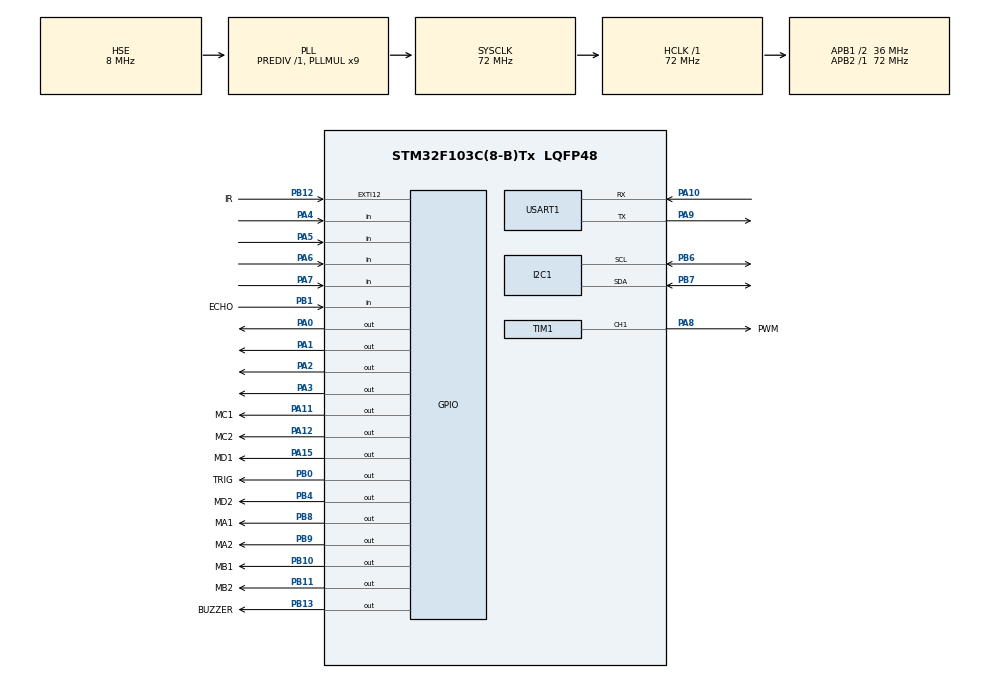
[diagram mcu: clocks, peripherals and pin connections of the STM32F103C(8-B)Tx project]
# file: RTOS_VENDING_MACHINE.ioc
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FREERTOS.Tasks01=defaultTask,0,128,StartDefaultTask,Default,NULL,Dynamic,NULL,NULL
FREERTOS.configUSE_NEWLIB_REENTRANT=1
Mcu.Family=STM32F1
Mcu.Name=STM32F103C(8-B)Tx
Mcu.Package=LQFP48
NVIC.EXTI15_10_IRQn=true\:5\:0\:true\:false\:true\:false\:true\:true\:true
NVIC.PriorityGroup=NVIC_PRIORITYGROUP_4
NVIC.TIM4_IRQn=true\:15\:0\:false\:false\:true\:false\:false\:true\:true
NVIC.TimeBase=TIM4_IRQn
NVIC.TimeBaseIP=TIM4
NVIC.USART1_IRQn=true\:5\:0\:false\:false\:true\:true\:true\:true\:true
PA0-WKUP.Signal=GPIO_Output
PA1.Signal=GPIO_Output
PA10.Mode=Asynchronous
PA10.Signal=USART1_RX
PA11.GPIO_Label=MC1
PA11.Signal=GPIO_Output
PA12.GPIO_Label=MC2
PA12.Signal=GPIO_Output
PA13.Mode=Serial_Wire
PA13.Signal=SYS_JTMS-SWDIO
PA14.Mode=Serial_Wire
PA14.Signal=SYS_JTCK-SWCLK
PA15.GPIO_Label=MD1
PA15.Signal=GPIO_Output
PA2.Signal=GPIO_Output
PA3.Signal=GPIO_Output
PA4.GPIO_PuPd=GPIO_PULLUP
PA4.Signal=GPIO_Input
PA5.GPIO_PuPd=GPIO_PULLUP
PA5.Signal=GPIO_Input
PA6.GPIO_PuPd=GPIO_PULLUP
PA6.Signal=GPIO_Input
PA7.GPIO_PuPd=GPIO_PULLUP
PA7.Signal=GPIO_Input
PA8.GPIO_Label=PWM
PA8.Signal=S_TIM1_CH1
PA9.Mode=Asynchronous
PA9.Signal=USART1_TX
PB0.GPIO_Label=TRIG
PB0.Signal=GPIO_Output
PB1.GPIO_Label=ECHO
PB1.Signal=GPIO_Input
PB10.GPIO_Label=MB1
PB10.Signal=GPIO_Output
PB11.GPIO_Label=MB2
PB11.Signal=GPIO_Output
PB12.GPIO_Label=IR
PB12.Signal=GPXTI12
PB13.GPIO_Label=BUZZER
PB13.Signal=GPIO_Output
PB4.GPIO_Label=MD2
PB4.Signal=GPIO_Output
PB6.Mode=I2C
PB6.Signal=I2C1_SCL
PB7.Mode=I2C
PB7.Signal=I2C1_SDA
PB8.GPIO_Label=MA1
PB8.Signal=GPIO_Output
PB9.GPIO_Label=MA2
PB9.Signal=GPIO_Output
PD0-OSC_IN.Mode=HSE-External-Oscillator
PD0-OSC_IN.Signal=RCC_OSC_IN
PD1-OSC_OUT.Mode=HSE-External-Oscillator
PD1-OSC_OUT.Signal=RCC_OSC_OUT
ProjectManager.HeapSize=0x200
ProjectManager.StackSize=0x400
ProjectManager.TargetToolchain=STM32CubeIDE
RCC.AHBFreq_Value=72000000
RCC.APB1CLKDivider=RCC_HCLK_DIV2
RCC.APB1Freq_Value=36000000
RCC.APB1TimFreq_Value=72000000
RCC.APB2Freq_Value=72000000
RCC.APB2TimFreq_Value=72000000
RCC.HCLKFreq_Value=72000000
RCC.PLLMUL=RCC_PLL_MUL9
RCC.PLLSourceVirtual=RCC_PLLSOURCE_HSE
RCC.SYSCLKFreq_VALUE=72000000
RCC.SYSCLKSource=RCC_SYSCLKSOURCE_PLLCLK
RCC.USBFreq_Value=72000000
SH.S_TIM1_CH1.0=TIM1_CH1,PWM Generation1 CH1
TIM1.Channel-PWM\ Generation1\ CH1=TIM_CHANNEL_1
TIM1.Period=1000
TIM1.Prescaler=71
USART1.VirtualMode=VM_ASYNC
VP_FREERTOS_VS_CMSIS_V1.Mode=CMSIS_V1
VP_SYS_VS_tim4.Mode=TIM4
board=custom

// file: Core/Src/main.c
/* USER CODE BEGIN Header */
/**
  ******************************************************************************
  * @file           : main.c
  * @brief          : Main program body
  ******************************************************************************
  */
/* USER CODE END Header */
#include "main.h"
#include "cmsis_os.h"

/* USER CODE BEGIN Includes */
#include <stdio.h>
#include <string.h>
/* USER CODE END Includes */

/* USER CODE BEGIN PD */
#define LCD_ADDR (0x27 << 1) // Default I2C LCD address shifted left
/* USER CODE END PD */

I2C_HandleTypeDef hi2c1;
TIM_HandleTypeDef htim1;
UART_HandleTypeDef huart1;

osThreadId defaultTaskHandle;

/* USER CODE BEGIN PV */
// Task Handles
osThreadId keypadTaskHandle;
osThreadId coinTaskHandle;
osThreadId controlTaskHandle;
osThreadId motorTaskHandle;
osThreadId ultrasonicTaskHandle;
osThreadId displayTaskHandle;
osThreadId buzzerTaskHandle;

// Queue Handles
osMessageQId coinQueueHandle;
osMessageQId keypadQueueHandle;

// Global State Variable
typedef enum {
  IDLE,
  COIN_INSERTED,
  SELECT_ITEM,
  SELECT_QUANTITY,
  CHECK_BALANCE,
  DISPENSE,
  VERIFY_DROP,
  SYS_SUCCESS,
  SYS_ERROR
} VendingState_t;

VendingState_t currentState = IDLE;

// System Data
volatile uint16_t currentBalance = 0;
volatile char selectedItem = '\0';
volatile uint8_t dropVerified = 0;

// Per-item configuration (1 unit = 10 Rs coin)
const uint16_t defaultItemCost[4] = {1, 1, 1, 1};
volatile uint16_t itemCost[4] = {1, 1, 1, 1};
volatile uint8_t itemStock[4] = {5, 5, 5, 5};
volatile uint32_t totalRevenue = 0;

// Restock mode variables
volatile uint8_t restockMode = 0;
volatile uint8_t restockStep = 0;          // 99=password, 0=select item, 1=enter qty, 2=enter price
volatile char restockItem = 0;
volatile uint8_t tempQty = 0;
volatile uint16_t tempPrice = 0;
volatile uint8_t tempDigitIndex = 0;
volatile uint16_t tempInputValue = 0;
volatile char pwdBuffer[5] = {0};          // Store 4-digit password

// Multi‑quantity purchase
volatile uint8_t requestedQty = 0;

// Display toggle for stock/price menu
volatile uint8_t displayMenuState = 0;     // 0 = prompt, 1 = stock, 2 = price
/* USER CODE END PV */

void SystemClock_Config(void);
static void MX_GPIO_Init(void);
static void MX_I2C1_Init(void);
static void MX_TIM1_Init(void);
static void MX_USART1_UART_Init(void);
void StartDefaultTask(void const * argument);

/* USER CODE BEGIN PFP */
void StartKeypadTask(void const * argument);
void StartCoinTask(void const * argument);
void StartControlTask(void const * argument);
void StartMotorTask(void const * argument);
void StartUltrasonicTask(void const * argument);
void StartDisplayTask(void const * argument);
void StartBuzzerTask(void const * argument);

// Helper Prototypes
void Debug_Print(char *msg);
void LCD_SendCommand(uint8_t cmd);
void LCD_SendData(uint8_t data);
void LCD_String(char *str);
void LCD_Clear(void);
void LCD_SetCursor(int row, int col);
void LCD_Init(void);
/* USER CODE END PFP */

int main(void)
{
  /* MCU Configuration--------------------------------------------------------*/

  /* Reset of all peripherals, Initializes the Flash interface and the Systick. */
  HAL_Init();

  /* Configure the system clock */
  SystemClock_Config();

  /* Initialize all configured peripherals */
  MX_GPIO_Init();
  MX_I2C1_Init();
  MX_TIM1_Init();
  MX_USART1_UART_Init();

  /* USER CODE BEGIN 2 */
  // Initial Debug Output
  Debug_Print("\r\n=================================\r\n");
  Debug_Print("  RTOS VENDING MACHINE BOOTING   \r\n");
  Debug_Print("=================================\r\n");

  // --- BARE METAL LCD INITIALIZATION ---
  LCD_Init();

  LCD_SetCursor(0, 0);
  LCD_String("  RTOS VENDING  ");
  LCD_SetCursor(1, 0);
  LCD_String(" SYSTEM BOOTING ");

  HAL_Delay(2000);
  LCD_Clear();
  /* USER CODE END 2 */

  /* USER CODE BEGIN RTOS_QUEUES */
  osMessageQDef(coinQueue, 16, uint8_t);
  coinQueueHandle = osMessageCreate(osMessageQ(coinQueue), NULL);

  osMessageQDef(keypadQueue, 16, uint8_t);
  keypadQueueHandle = osMessageCreate(osMessageQ(keypadQueue), NULL);
  /* USER CODE END RTOS_QUEUES */

  /* Create the thread(s) */
  osThreadDef(defaultTask, StartDefaultTask, osPriorityNormal, 0, 128);
  defaultTaskHandle = osThreadCreate(osThread(defaultTask), NULL);

  /* USER CODE BEGIN RTOS_THREADS */
  osThreadDef(controlTask, StartControlTask, osPriorityAboveNormal, 0, 512);
  controlTaskHandle = osThreadCreate(osThread(controlTask), NULL);

  osThreadDef(keypadTask, StartKeypadTask, osPriorityNormal, 0, 256);
  keypadTaskHandle = osThreadCreate(osThread(keypadTask), NULL);

  osThreadDef(coinTask, StartCoinTask, osPriorityNormal, 0, 128);
  coinTaskHandle = osThreadCreate(osThread(coinTask), NULL);

  osThreadDef(motorTask, StartMotorTask, osPriorityNormal, 0, 128);
  motorTaskHandle = osThreadCreate(osThread(motorTask), NULL);

  osThreadDef(displayTask, StartDisplayTask, osPriorityNormal, 0, 256);
  displayTaskHandle = osThreadCreate(osThread(displayTask), NULL);

  osThreadDef(buzzerTask, StartBuzzerTask, osPriorityNormal, 0, 128);
  buzzerTaskHandle = osThreadCreate(osThread(buzzerTask), NULL);

  osThreadDef(ultrasonicTask, StartUltrasonicTask, osPriorityNormal, 0, 256);
  ultrasonicTaskHandle = osThreadCreate(osThread(ultrasonicTask), NULL);
  /* USER CODE END RTOS_THREADS */

  /* Start scheduler */
  osKernelStart();

  while (1)
  {
  }
}

void SystemClock_Config(void)
{
  RCC_OscInitTypeDef RCC_OscInitStruct = {0};
  RCC_ClkInitTypeDef RCC_ClkInitStruct = {0};

  RCC_OscInitStruct.OscillatorType = RCC_OSCILLATORTYPE_HSE;
  RCC_OscInitStruct.HSEState = RCC_HSE_ON;
  RCC_OscInitStruct.HSEPredivValue = RCC_HSE_PREDIV_DIV1;
  RCC_OscInitStruct.HSIState = RCC_HSI_ON;
  RCC_OscInitStruct.PLL.PLLState = RCC_PLL_ON;
  RCC_OscInitStruct.PLL.PLLSource = RCC_PLLSOURCE_HSE;
  RCC_OscInitStruct.PLL.PLLMUL = RCC_PLL_MUL9;
  if (HAL_RCC_OscConfig(&RCC_OscInitStruct) != HAL_OK)
  {
    Error_Handler();
  }

  RCC_ClkInitStruct.ClockType = RCC_CLOCKTYPE_HCLK|RCC_CLOCKTYPE_SYSCLK
                              |RCC_CLOCKTYPE_PCLK1|RCC_CLOCKTYPE_PCLK2;
  RCC_ClkInitStruct.SYSCLKSource = RCC_SYSCLKSOURCE_PLLCLK;
  RCC_ClkInitStruct.AHBCLKDivider = RCC_SYSCLK_DIV1;
  RCC_ClkInitStruct.APB1CLKDivider = RCC_HCLK_DIV2;
  RCC_ClkInitStruct.APB2CLKDivider = RCC_HCLK_DIV1;

  if (HAL_RCC_ClockConfig(&RCC_ClkInitStruct, FLASH_LATENCY_2) != HAL_OK)
  {
    Error_Handler();
  }
}

static void MX_I2C1_Init(void)
{
  hi2c1.Instance = I2C1;
  hi2c1.Init.ClockSpeed = 100000;
  hi2c1.Init.DutyCycle = I2C_DUTYCYCLE_2;
  hi2c1.Init.OwnAddress1 = 0;
  hi2c1.Init.AddressingMode = I2C_ADDRESSINGMODE_7BIT;
  hi2c1.Init.DualAddressMode = I2C_DUALADDRESS_DISABLE;
  hi2c1.Init.OwnAddress2 = 0;
  hi2c1.Init.GeneralCallMode = I2C_GENERALCALL_DISABLE;
  hi2c1.Init.NoStretchMode = I2C_NOSTRETCH_DISABLE;
  if (HAL_I2C_Init(&hi2c1) != HAL_OK)
  {
    Error_Handler();
  }
}

static void MX_TIM1_Init(void)
{
  TIM_MasterConfigTypeDef sMasterConfig = {0};
  TIM_OC_InitTypeDef sConfigOC = {0};
  TIM_BreakDeadTimeConfigTypeDef sBreakDeadTimeConfig = {0};

  htim1.Instance = TIM1;
  htim1.Init.Prescaler = 71;
  htim1.Init.CounterMode = TIM_COUNTERMODE_UP;
  htim1.Init.Period = 1000;
  htim1.Init.ClockDivision = TIM_CLOCKDIVISION_DIV1;
  htim1.Init.RepetitionCounter = 0;
  htim1.Init.AutoReloadPreload = TIM_AUTORELOAD_PRELOAD_DISABLE;
  if (HAL_TIM_PWM_Init(&htim1) != HAL_OK)
  {
    Error_Handler();
  }
  sMasterConfig.MasterOutputTrigger = TIM_TRGO_RESET;
  sMasterConfig.MasterSlaveMode = TIM_MASTERSLAVEMODE_DISABLE;
  if (HAL_TIMEx_MasterConfigSynchronization(&htim1, &sMasterConfig) != HAL_OK)
  {
    Error_Handler();
  }
  sConfigOC.OCMode = TIM_OCMODE_PWM1;
  sConfigOC.Pulse = 0;
  sConfigOC.OCPolarity = TIM_OCPOLARITY_HIGH;
  sConfigOC.OCNPolarity = TIM_OCNPOLARITY_HIGH;
  sConfigOC.OCFastMode = TIM_OCFAST_DISABLE;
  sConfigOC.OCIdleState = TIM_OCIDLESTATE_RESET;
  sConfigOC.OCNIdleState = TIM_OCNIDLESTATE_RESET;
  if (HAL_TIM_PWM_ConfigChannel(&htim1, &sConfigOC, TIM_CHANNEL_1) != HAL_OK)
  {
    Error_Handler();
  }
  sBreakDeadTimeConfig.OffStateRunMode = TIM_OSSR_DISABLE;
  sBreakDeadTimeConfig.OffStateIDLEMode = TIM_OSSI_DISABLE;
  sBreakDeadTimeConfig.LockLevel = TIM_LOCKLEVEL_OFF;
  sBreakDeadTimeConfig.DeadTime = 0;
  sBreakDeadTimeConfig.BreakState = TIM_BREAK_DISABLE;
  sBreakDeadTimeConfig.BreakPolarity = TIM_BREAKPOLARITY_HIGH;
  sBreakDeadTimeConfig.AutomaticOutput = TIM_AUTOMATICOUTPUT_DISABLE;
  if (HAL_TIMEx_ConfigBreakDeadTime(&htim1, &sBreakDeadTimeConfig) != HAL_OK)
  {
    Error_Handler();
  }
  HAL_TIM_MspPostInit(&htim1);
}

static void MX_USART1_UART_Init(void)
{
  huart1.Instance = USART1;
  huart1.Init.BaudRate = 115200;
  huart1.Init.WordLength = UART_WORDLENGTH_8B;
  huart1.Init.StopBits = UART_STOPBITS_1;
  huart1.Init.Parity = UART_PARITY_NONE;
  huart1.Init.Mode = UART_MODE_TX_RX;
  huart1.Init.HwFlowCtl = UART_HWCONTROL_NONE;
  huart1.Init.OverSampling = UART_OVERSAMPLING_16;
  if (HAL_UART_Init(&huart1) != HAL_OK)
  {
    Error_Handler();
  }
}

static void MX_GPIO_Init(void)
{
  GPIO_InitTypeDef GPIO_InitStruct = {0};

  /* GPIO Ports Clock Enable */
  __HAL_RCC_GPIOD_CLK_ENABLE();
  __HAL_RCC_GPIOA_CLK_ENABLE();
  __HAL_RCC_GPIOB_CLK_ENABLE();

  /*Configure GPIO pin Output Level */
  HAL_GPIO_WritePin(GPIOA, GPIO_PIN_0|GPIO_PIN_1|GPIO_PIN_2|GPIO_PIN_3
                          |MC1_Pin|MC2_Pin|MD1_Pin, GPIO_PIN_RESET);

  /*Configure GPIO pin Output Level */
  HAL_GPIO_WritePin(GPIOB, TRIG_Pin|MB1_Pin|MB2_Pin|BUZZER_Pin
                          |MD2_Pin|MA1_Pin|MA2_Pin, GPIO_PIN_RESET);

  /*Configure GPIO pins : PA0 PA1 PA2 PA3 MC1_Pin MC2_Pin MD1_Pin */
  GPIO_InitStruct.Pin = GPIO_PIN_0|GPIO_PIN_1|GPIO_PIN_2|GPIO_PIN_3
                          |MC1_Pin|MC2_Pin|MD1_Pin;
  GPIO_InitStruct.Mode = GPIO_MODE_OUTPUT_PP;
  GPIO_InitStruct.Pull = GPIO_NOPULL;
  GPIO_InitStruct.Speed = GPIO_SPEED_FREQ_LOW;
  HAL_GPIO_Init(GPIOA, &GPIO_InitStruct);

  /*Configure GPIO pins : PA4 PA5 PA6 PA7 */
  GPIO_InitStruct.Pin = GPIO_PIN_4|GPIO_PIN_5|GPIO_PIN_6|GPIO_PIN_7;
  GPIO_InitStruct.Mode = GPIO_MODE_INPUT;
  GPIO_InitStruct.Pull = GPIO_PULLUP;
  HAL_GPIO_Init(GPIOA, &GPIO_InitStruct);

  /*Configure GPIO pins : TRIG_Pin MB1_Pin MB2_Pin BUZZER_Pin MD2_Pin MA1_Pin MA2_Pin */
  GPIO_InitStruct.Pin = TRIG_Pin|MB1_Pin|MB2_Pin|BUZZER_Pin
                          |MD2_Pin|MA1_Pin|MA2_Pin;
  GPIO_InitStruct.Mode = GPIO_MODE_OUTPUT_PP;
  GPIO_InitStruct.Pull = GPIO_NOPULL;
  GPIO_InitStruct.Speed = GPIO_SPEED_FREQ_LOW;
  HAL_GPIO_Init(GPIOB, &GPIO_InitStruct);

  /*Configure GPIO pin : ECHO_Pin */
  GPIO_InitStruct.Pin = ECHO_Pin;
  GPIO_InitStruct.Mode = GPIO_MODE_INPUT;
  GPIO_InitStruct.Pull = GPIO_NOPULL;
  HAL_GPIO_Init(ECHO_GPIO_Port, &GPIO_InitStruct);

  /*Configure GPIO pin : IR_Pin */
  GPIO_InitStruct.Pin = IR_Pin;
  GPIO_InitStruct.Mode = GPIO_MODE_IT_RISING;
  GPIO_InitStruct.Pull = GPIO_NOPULL;
  HAL_GPIO_Init(IR_GPIO_Port, &GPIO_InitStruct);

  /* EXTI interrupt init*/
  HAL_NVIC_SetPriority(EXTI15_10_IRQn, 5, 0);
  HAL_NVIC_EnableIRQ(EXTI15_10_IRQn);
}

/* USER CODE BEGIN 4 */

// --- Helper: UART Debug Print ---
void Debug_Print(char *msg) {
    HAL_UART_Transmit(&huart1, (uint8_t*)msg, strlen(msg), 100);
}

// --- Helper: Robust I2C LCD Driver ---
void LCD_SendCommand(uint8_t cmd) {
    uint8_t data_u = (cmd & 0xF0);
    uint8_t data_l = ((cmd << 4) & 0xF0);
    uint8_t data_t[4];

    data_t[0] = data_u | 0x0C;  // EN=1, RS=0
    data_t[1] = data_u | 0x08;  // EN=0, RS=0
    data_t[2] = data_l | 0x0C;  // EN=1, RS=0
    data_t[3] = data_l | 0x08;  // EN=0, RS=0

    HAL_I2C_Master_Transmit(&hi2c1, LCD_ADDR, data_t, 4, 100);
}

void LCD_SendData(uint8_t data) {
    uint8_t data_u = (data & 0xF0);
    uint8_t data_l = ((data << 4) & 0xF0);
    uint8_t data_t[4];

    data_t[0] = data_u | 0x0D;  // EN=1, RS=1
    data_t[1] = data_u | 0x09;  // EN=0, RS=1
    data_t[2] = data_l | 0x0D;  // EN=1, RS=1
    data_t[3] = data_l | 0x09;  // EN=0, RS=1

    HAL_I2C_Master_Transmit(&hi2c1, LCD_ADDR, data_t, 4, 100);
}

void LCD_String(char *str) {
    while (*str) LCD_SendData(*str++);
}

void LCD_Clear(void) {
    LCD_SendCommand(0x01);
    HAL_Delay(2);
}

void LCD_SetCursor(int row, int col) {
    uint8_t addr = (row == 0) ? 0x80 + col : 0xC0 + col;
    LCD_SendCommand(addr);
}

void LCD_Init(void) {
    HAL_Delay(50);
    LCD_SendCommand(0x30);
    HAL_Delay(5);
    LCD_SendCommand(0x30);
    HAL_Delay(1);
    LCD_SendCommand(0x30);
    HAL_Delay(10);
    LCD_SendCommand(0x20); // 4-bit mode
    HAL_Delay(10);

    LCD_SendCommand(0x28); // 2 line
    LCD_SendCommand(0x08); // display off
    LCD_SendCommand(0x01); // clear
    HAL_Delay(2);
    LCD_SendCommand(0x06); // entry mode
    LCD_SendCommand(0x0C); // display on
    HAL_Delay(10);
}

// --- EXTI Callback for IR Coin Sensor ---
volatile uint32_t lastCoinTick = 0; // Prevent coin bouncing
void HAL_GPIO_EXTI_Callback(uint16_t GPIO_Pin) {
    if (GPIO_Pin == IR_Pin) {
        uint32_t currentTick = HAL_GetTick();
        if (currentTick - lastCoinTick > 300) { // 300ms hardware debounce
            lastCoinTick = currentTick;
            uint8_t coinDrop = 1;
            osMessagePut(coinQueueHandle, coinDrop, 0); // Non-blocking in ISR
        }
    }
}

// --- TASK IMPLEMENTATIONS ---

void StartCoinTask(void const * argument) {
    osEvent event;
    char uartBuf[64];
    for(;;) {
        event = osMessageGet(coinQueueHandle, osWaitForever);
        if (event.status == osEventMessage) {
            currentBalance += 1; // 1 unit = 10 Rs
            sprintf(uartBuf, "[COIN] Valid Coin! Balance After Insert: %d\r\n", currentBalance);
            Debug_Print(uartBuf);

            if (currentState == IDLE) {
                currentState = COIN_INSERTED;
                Debug_Print("[STATE] Transition: IDLE -> COIN_INSERTED\r\n");
            }
            osSignalSet(buzzerTaskHandle, 0x01);
        }
    }
}

void StartKeypadTask(void const * argument) {
    char uartBuf[64];
    const char keymap[4][4] = {
        {'1','2','3','A'},
        {'4','5','6','B'},
        {'7','8','9','C'},
        {'*','0','#','D'}
    };
    uint16_t rowPins[4] = {GPIO_PIN_0, GPIO_PIN_1, GPIO_PIN_2, GPIO_PIN_3}; // PA0-PA3
    uint16_t colPins[4] = {GPIO_PIN_4, GPIO_PIN_5, GPIO_PIN_6, GPIO_PIN_7}; // PA4-PA7

    for(;;) {
        for (int r = 0; r < 4; r++) {
            HAL_GPIO_WritePin(GPIOA, GPIO_PIN_0|GPIO_PIN_1|GPIO_PIN_2|GPIO_PIN_3, GPIO_PIN_SET);
            HAL_GPIO_WritePin(GPIOA, rowPins[r], GPIO_PIN_RESET);
            osDelay(5);

            for (int c = 0; c < 4; c++) {
                if (HAL_GPIO_ReadPin(GPIOA, colPins[c]) == GPIO_PIN_RESET) {
                    char key = keymap[r][c];

                    // --- LONG PRESS DETECTION LOGIC ---
                    uint32_t pressStart = HAL_GetTick();
                    while(HAL_GPIO_ReadPin(GPIOA, colPins[c]) == GPIO_PIN_RESET) osDelay(10); // Wait for release
                    uint32_t pressDuration = HAL_GetTick() - pressStart;

                    if (!restockMode) {
                        // NORMAL MODE
                        if (key == '*' && pressDuration >= 3000) {
                            restockMode = 1;
                            restockStep = 99; // 99 = Password Entry Step
                            tempDigitIndex = 0;
                            memset((void*)pwdBuffer, 0, sizeof(pwdBuffer));
                            Debug_Print("[RESTOCK] Enter Password\r\n");
                            osSignalSet(buzzerTaskHandle, 0x01);
                        } else if (pressDuration < 3000) {
                            sprintf(uartBuf, "[KEYPAD] Key: %c\r\n", key);
                            Debug_Print(uartBuf);
                            osMessagePut(keypadQueueHandle, key, 10);
                        }
                    } else {
                        // RESTOCK MODE
                        // Universal Save & Exit trigger: Long press # for 2 seconds anywhere in restock
                        if (key == '#' && pressDuration >= 2000) {
                            restockMode = 0;
                            restockStep = 0;
                            Debug_Print("[RESTOCK] Saved & Exited to Normal Mode (Long #)\r\n");
                            osSignalSet(buzzerTaskHandle, 0x02);
                        }
                        else if (pressDuration < 2000) { // Standard short press processing

                            // --- Password Verification Step ---
                            if (restockStep == 99) {
                                if (key >= '0' && key <= '9') {
                                    if (tempDigitIndex < 4) { // Max 4 digits
                                        pwdBuffer[tempDigitIndex++] = key;
                                        pwdBuffer[tempDigitIndex] = '\0';
                                        osSignalSet(buzzerTaskHandle, 0x01); // Beep on keypress
                                    }
                                } else if (key == '#') { // Press # to Enter Password
                                    if (strcmp((char*)pwdBuffer, "0000") == 0) {
                                        restockStep = 0; // Correct password, go to Select Item
                                        Debug_Print("[RESTOCK] Password Correct. Entering Menu.\r\n");
                                        osSignalSet(buzzerTaskHandle, 0x02); // Success beep
                                    } else {
                                        restockMode = 0; // Wrong password, exit
                                        Debug_Print("[RESTOCK] Password Incorrect. Exiting.\r\n");
                                        osSignalSet(buzzerTaskHandle, 0x03); // Error beep
                                    }
                                } else if (key == '*') {
                                    restockMode = 0; // Cancel password entry
                                    Debug_Print("[RESTOCK] Password Entry Cancelled.\r\n");
                                    osSignalSet(buzzerTaskHandle, 0x02);
                                }
                            }
                            // --- Restock Standard Configuration Steps ---
                            else if (restockStep == 0) {
                                if (key == 'A' || key == 'B' || key == 'C' || key == 'D') {
                                    restockItem = key;
                                    restockStep = 1;
                                    tempInputValue = 0;
                                    tempDigitIndex = 0;
                                    Debug_Print("[RESTOCK] Select quantity\r\n");
                                    osSignalSet(buzzerTaskHandle, 0x01);
                                } else if (key == '*') {
                                    restockMode = 0; // Short press * exits if no item selected
                                    restockStep = 0;
                                    Debug_Print("[RESTOCK] Exited\r\n");
                                    osSignalSet(buzzerTaskHandle, 0x02);
                                }
                            }
                            else if (restockStep == 1) {
                                if (key >= '0' && key <= '9') {
                                    tempInputValue = tempInputValue * 10 + (key - '0');
                                    tempDigitIndex++;
                                    osSignalSet(buzzerTaskHandle, 0x01);
                                } else if (key == '#') {
                                    tempQty = tempInputValue > 99 ? 99 : tempInputValue;
                                    restockStep = 2;
                                    tempInputValue = 0;
                                    tempDigitIndex = 0;
                                    Debug_Print("[RESTOCK] Enter price\r\n");
                                    osSignalSet(buzzerTaskHandle, 0x01);
                                } else if (key == '*') {
                                    restockStep = 0;
                                    Debug_Print("[RESTOCK] Cancelled item\r\n");
                                    osSignalSet(buzzerTaskHandle, 0x03);
                                }
                            }
                            else if (restockStep == 2) {
                                if (key >= '0' && key <= '9') {
                                    tempInputValue = tempInputValue * 10 + (key - '0');
                                    tempDigitIndex++;
                                    osSignalSet(buzzerTaskHandle, 0x01);
                                } else if (key == '#') {
                                    tempPrice = tempInputValue < 1 ? 1 : tempInputValue;
                                    int idx = (restockItem == 'A') ? 0 : (restockItem == 'B') ? 1 : (restockItem == 'C') ? 2 : 3;
                                    itemStock[idx] = tempQty;
                                    itemCost[idx] = tempPrice;
                                    sprintf(uartBuf, "[RESTOCK] Item %c: Qty=%d, Price=%d\r\n", restockItem, tempQty, tempPrice);
                                    Debug_Print(uartBuf);
                                    restockStep = 0;
                                    osSignalSet(buzzerTaskHandle, 0x02);
                                } else if (key == '*') {
                                    restockStep = 1;
                                    tempInputValue = 0;
                                    tempDigitIndex = 0;
                                    Debug_Print("[RESTOCK] Re-enter quantity\r\n");
                                    osSignalSet(buzzerTaskHandle, 0x01);
                                }
                            }
                        }
                    }
                }
            }
        }
        osDelay(20);
    }
}

void StartControlTask(void const * argument) {
    osEvent keyEvent;
    char key;
    char uartBuf[64];
    int idx;
    uint8_t qtyRemaining = 0;

    for(;;) {
        if (restockMode) {
            osDelay(50);
            continue;
        }

        switch(currentState) {
            case IDLE:
                // Allow `#` button cycling in idle
                keyEvent = osMessageGet(keypadQueueHandle, 50);
                if (keyEvent.status == osEventMessage) {
                    key = (char)keyEvent.value.v;
                    if (key == '#') {
                        displayMenuState = (displayMenuState + 1) % 3;
                        osSignalSet(buzzerTaskHandle, 0x01);
                    }
                }
                break;

            case COIN_INSERTED:
                keyEvent = osMessageGet(keypadQueueHandle, 100);
                if (keyEvent.status == osEventMessage) {
                    key = (char)keyEvent.value.v;
                    if (key == 'A' || key == 'B' || key == 'C' || key == 'D') {
                        selectedItem = key;
                        requestedQty = 0;
                        currentState = SELECT_QUANTITY;
                        sprintf(uartBuf, "[CTRL] Item %c selected. Enter quantity.\r\n", selectedItem);
                        Debug_Print(uartBuf);
                    }
                    else if (key == '#') {
                        displayMenuState = (displayMenuState + 1) % 3;
                        osSignalSet(buzzerTaskHandle, 0x01);
                    }
                }
                break;

            case SELECT_QUANTITY:
                keyEvent = osMessageGet(keypadQueueHandle, 5000);
                if (keyEvent.status == osEventMessage) {
                    key = (char)keyEvent.value.v;
                    if (key >= '1' && key <= '9') {
                        requestedQty = key - '0';
                        sprintf(uartBuf, "[CTRL] Quantity = %d\r\n", requestedQty);
                        Debug_Print(uartBuf);
                        currentState = CHECK_BALANCE;
                    } else if (key == '*') {
                        currentState = COIN_INSERTED;
                        Debug_Print("[CTRL] Quantity selection cancelled\r\n");
                    }
                } else {
                    currentState = COIN_INSERTED;
                    Debug_Print("[CTRL] Quantity selection timeout\r\n");
                }
                break;

            case CHECK_BALANCE:
                idx = (selectedItem == 'A') ? 0 :
                      (selectedItem == 'B') ? 1 :
                      (selectedItem == 'C') ? 2 : 3;

                sprintf(uartBuf, "[CTRL] Pre-Check Balance: %d | Cost Required: %d\r\n", currentBalance, (itemCost[idx] * requestedQty));
                Debug_Print(uartBuf);

                if (itemStock[idx] < requestedQty) {
                    sprintf(uartBuf, "[CTRL] Only %d in stock, requested %d\r\n", itemStock[idx], requestedQty);
                    Debug_Print(uartBuf);
                    currentState = SYS_ERROR;
                }
                else if (currentBalance >= (itemCost[idx] * requestedQty)) {
                    // Safety logic: Do not deduct balance yet
                    sprintf(uartBuf, "[CTRL] Balance Verification OK. Attempting drop %d x %c\r\n", requestedQty, selectedItem);
                    Debug_Print(uartBuf);
                    qtyRemaining = requestedQty;
                    currentState = DISPENSE;
                }
                else {
                    Debug_Print("[CTRL] Insufficient balance\r\n");
                    currentState = SYS_ERROR;
                }
                break;

            case DISPENSE:
                Debug_Print("[CTRL] Starting dispense cycle\r\n");
                currentState = VERIFY_DROP;
                dropVerified = 0;

                // Send initial wake-up flag
                osSignalSet(motorTaskHandle, 0x01);

                // --- INFINITE WAIT ---
                // Will not timeout. Waits indefinitely for the sensor to flag a drop.
                while (dropVerified == 0) {
                    osDelay(100);
                }

                if (dropVerified) {
                    // --- ONLY CHARGE ON SUCCESS ---
                    idx = (selectedItem == 'A') ? 0 :
                          (selectedItem == 'B') ? 1 :
                          (selectedItem == 'C') ? 2 : 3;

                    if (currentBalance >= itemCost[idx]) {

                        sprintf(uartBuf, "[CTRL] Pre-Drop Balance Before Charge: %d\r\n", currentBalance);
                        Debug_Print(uartBuf);

                        currentBalance -= itemCost[idx];
                        itemStock[idx]--;
                        totalRevenue += itemCost[idx];
                        qtyRemaining--;

                        sprintf(uartBuf, "[CTRL] Success! Post-Drop Balance After Charge: %d\r\n", currentBalance);
                        Debug_Print(uartBuf);
                    }

                    if (qtyRemaining > 0) {
                        sprintf(uartBuf, "[CTRL] %d more to dispense\r\n", qtyRemaining);
                        Debug_Print(uartBuf);
                        dropVerified = 0;
                        currentState = DISPENSE;
                        osDelay(500);
                    } else {
                        currentState = SYS_SUCCESS;
                    }
                }
                break;

            case VERIFY_DROP:
                break;

            case SYS_SUCCESS:
                Debug_Print("[STATE] All items dispensed successfully.\r\n");
                osSignalSet(buzzerTaskHandle, 0x02);
                osDelay(3000);
                if (currentBalance > 0) {
                    currentState = COIN_INSERTED;
                } else {
                    currentState = IDLE;
                }
                selectedItem = '\0';
                requestedQty = 0;
                break;

            case SYS_ERROR:
                Debug_Print("[STATE] Error occurred.\r\n");
                osSignalSet(buzzerTaskHandle, 0x03);
                osDelay(3000);
                if (currentBalance > 0) currentState = COIN_INSERTED;
                else currentState = IDLE;
                selectedItem = '\0';
                requestedQty = 0;
                break;

            default:
                break;
        }
        osDelay(50);
    }
}

void StartMotorTask(void const * argument) {
    char uartBuf[64];
    HAL_TIM_PWM_Start(&htim1, TIM_CHANNEL_1);

    // --- INCREASED PWM TO 700 ---
    __HAL_TIM_SET_COMPARE(&htim1, TIM_CHANNEL_1, 700);

    for(;;) {
        osSignalWait(0x01, osWaitForever);

        int pulseCount = 0;

        // --- REMOVED TIMEOUT LOOP ---
        // Will pulse 1s ON / 1s OFF forever until dropVerified == 1
        while (dropVerified == 0) {

            sprintf(uartBuf, "[MOTOR] Pulse %d ON (Item %c)\r\n", pulseCount+1, selectedItem);
            Debug_Print(uartBuf);

            if (selectedItem == 'A') HAL_GPIO_WritePin(GPIOB, MA1_Pin, GPIO_PIN_SET);
            if (selectedItem == 'B') HAL_GPIO_WritePin(GPIOB, MB1_Pin, GPIO_PIN_SET);
            if (selectedItem == 'C') HAL_GPIO_WritePin(GPIOA, MC1_Pin, GPIO_PIN_SET);
            if (selectedItem == 'D') HAL_GPIO_WritePin(GPIOA, MD1_Pin, GPIO_PIN_SET);

            osDelay(300);

            Debug_Print("[MOTOR] Pulse OFF\r\n");

            HAL_GPIO_WritePin(GPIOB, MB1_Pin|MB2_Pin|MA1_Pin|MA2_Pin, GPIO_PIN_RESET);
            HAL_GPIO_WritePin(GPIOA, MC1_Pin|MC2_Pin|MD1_Pin, GPIO_PIN_RESET);
            HAL_GPIO_WritePin(MD2_GPIO_Port, MD2_Pin, GPIO_PIN_RESET);

            if (dropVerified) {
                Debug_Print("[MOTOR] Stopped early due to drop verification!\r\n");
                break;
            }

            osDelay(300);
            pulseCount++;
        }

        // Safety catch
        HAL_GPIO_WritePin(GPIOB, MB1_Pin|MB2_Pin|MA1_Pin|MA2_Pin, GPIO_PIN_RESET);
        HAL_GPIO_WritePin(GPIOA, MC1_Pin|MC2_Pin|MD1_Pin, GPIO_PIN_RESET);
        HAL_GPIO_WritePin(MD2_GPIO_Port, MD2_Pin, GPIO_PIN_RESET);
    }
}

void StartUltrasonicTask(void const * argument) {
    char uartBuf[64];
    uint32_t local_time = 0;
    uint32_t baselineTime = 0;
    uint32_t lastPrintTick = HAL_GetTick();

    // --- AUTO-CALIBRATE BASELINE AT BOOT ---
    osDelay(1000); // Wait for system to settle
    Debug_Print("[SENSOR] Calibrating Baseline Distance...\r\n");

    uint32_t sum = 0;
    int validReadings = 0;
    for(int i = 0; i < 10; i++) {
        HAL_GPIO_WritePin(GPIOB, TRIG_Pin, GPIO_PIN_SET);
        for(volatile int j=0; j<720; j++);
        HAL_GPIO_WritePin(GPIOB, TRIG_Pin, GPIO_PIN_RESET);

        local_time = 0;
        while (HAL_GPIO_ReadPin(ECHO_GPIO_Port, ECHO_Pin) == GPIO_PIN_RESET && local_time < 10000) local_time++;
        local_time = 0;
        while (HAL_GPIO_ReadPin(ECHO_GPIO_Port, ECHO_Pin) == GPIO_PIN_SET && local_time < 50000) local_time++;

        if (local_time > 0 && local_time < 40000) {
            sum += local_time;
            validReadings++;
        }
        osDelay(100);
    }

    if (validReadings > 0) {
        baselineTime = sum / validReadings;
    } else {
        baselineTime = 2400; // Fallback to safe default
    }

    sprintf(uartBuf, "[SENSOR] Baseline Auto-Set to: %lu\r\n", baselineTime);
    Debug_Print(uartBuf);

    for(;;) {
        // --- ACTIVE FAST SCANNING (During Dispense) ---
        if (currentState == VERIFY_DROP && dropVerified == 0) {
            HAL_GPIO_WritePin(GPIOB, TRIG_Pin, GPIO_PIN_SET);
            for(volatile int i=0; i<720; i++);
            HAL_GPIO_WritePin(GPIOB, TRIG_Pin, GPIO_PIN_RESET);

            local_time = 0;
            while (HAL_GPIO_ReadPin(ECHO_GPIO_Port, ECHO_Pin) == GPIO_PIN_RESET && local_time < 10000) local_time++;

            local_time = 0;
            while (HAL_GPIO_ReadPin(ECHO_GPIO_Port, ECHO_Pin) == GPIO_PIN_SET && local_time < 50000) local_time++;

            // DETECT SUDDEN DROP: If distance is 400 units (~6cm) shorter than baseline
            if (local_time > 0 && local_time < (baselineTime - 400)) {

                // Double verify to prevent false noise triggers
                osDelay(10);
                HAL_GPIO_WritePin(GPIOB, TRIG_Pin, GPIO_PIN_SET);
                for(volatile int i=0; i<720; i++);
                HAL_GPIO_WritePin(GPIOB, TRIG_Pin, GPIO_PIN_RESET);

                uint32_t verify_time = 0;
                while (HAL_GPIO_ReadPin(ECHO_GPIO_Port, ECHO_Pin) == GPIO_PIN_RESET && verify_time < 10000) verify_time++;
                verify_time = 0;
                while (HAL_GPIO_ReadPin(ECHO_GPIO_Port, ECHO_Pin) == GPIO_PIN_SET && verify_time < 50000) verify_time++;

                if (verify_time > 0 && verify_time < (baselineTime - 400)) {
                    sprintf(uartBuf, "[SENSOR] True Drop Confirmed! Time=%lu\r\n", verify_time);
                    Debug_Print(uartBuf);
                    dropVerified = 1;
                }
            }

            osDelay(40); // Fast 40ms polling
            lastPrintTick = HAL_GetTick(); // Keep idle timer reset while busy
        }
        // --- IDLE SCANNING (Every 2 seconds - Silent Auto-Drift) ---
        else {
            if (HAL_GetTick() - lastPrintTick >= 1700) {
                lastPrintTick = HAL_GetTick();

                HAL_GPIO_WritePin(GPIOB, TRIG_Pin, GPIO_PIN_SET);
                for(volatile int i=0; i<720; i++);
                HAL_GPIO_WritePin(GPIOB, TRIG_Pin, GPIO_PIN_RESET);

                local_time = 0;
                while (HAL_GPIO_ReadPin(ECHO_GPIO_Port, ECHO_Pin) == GPIO_PIN_RESET && local_time < 10000) local_time++;

                local_time = 0;
                while (HAL_GPIO_ReadPin(ECHO_GPIO_Port, ECHO_Pin) == GPIO_PIN_SET && local_time < 50000) local_time++;

                // If no object is falling, slightly adjust baseline to handle temperature/box shifting
                if (local_time > 0 && local_time < 40000) {
                    if (local_time > (baselineTime - 200) && local_time < (baselineTime + 200)) {
                        baselineTime = (baselineTime * 3 + local_time) / 4; // Slow moving average
                    }
                }

                // Flush any old signals sent by ControlTask to prevent queue buildup
                osSignalWait(0x01, 0);
            }
            osDelay(100); // Check state every 100ms when idle
        }
    }
}

void StartDisplayTask(void const * argument) {
    char lcdBuffer1[17];
    char lcdBuffer2[17];
    char tempBuf[32]; // For intermediate formatting before space padding
    VendingState_t lastState = 0xFF;
    uint16_t lastBalance = 0xFFFF;
    uint8_t lastRestockMode = 0xFF;
    uint8_t lastMenuState = 0xFF;
    uint8_t lastDigitIndex = 0xFF;  // Track digit changes to force clear
    uint32_t lastRefreshTick = HAL_GetTick();

    for(;;) {
        // --- PERIODIC REFRESH DISABLED (To prevent screen flicker/reset) ---
        // Only sending the config pulse, not wiping the state cache
        if (HAL_GetTick() - lastRefreshTick >= 3000) {
            lastRefreshTick = HAL_GetTick();
            LCD_SendCommand(0x0C); // Display ON, Cursor OFF backup
        }

        if (restockMode) {
            // Force redraw on step change or digit addition
            if (lastRestockMode != restockStep || lastDigitIndex != tempDigitIndex) {
                lastRestockMode = restockStep;
                lastDigitIndex = tempDigitIndex;
            }

            // --- STRICT SPACE PADDING FOR ALL RESTOCK MENUS TO PREVENT OVERLAP ---
            switch(restockStep) {
                case 99:
                    sprintf(lcdBuffer1, "%-16s", "ENTER PASSWORD:");
                    if (tempDigitIndex == 0) sprintf(lcdBuffer2, "                "); // 16 spaces
                    else if (tempDigitIndex == 1) sprintf(lcdBuffer2, "%-16s", "*");
                    else if (tempDigitIndex == 2) sprintf(lcdBuffer2, "%-16s", "**");
                    else if (tempDigitIndex == 3) sprintf(lcdBuffer2, "%-16s", "***");
                    else sprintf(lcdBuffer2, "%-16s", "****");
                    break;
                case 0:
                    sprintf(lcdBuffer1, "%-16s", "RESTOCK MODE");
                    sprintf(lcdBuffer2, "                "); // Empties the second line completely
                    break;
                case 1:
                    sprintf(tempBuf, "Item %c QTY:", restockItem);
                    sprintf(lcdBuffer1, "%-16s", tempBuf);

                    if (tempDigitIndex == 0) {
                        sprintf(lcdBuffer2, "                ");
                    } else {
                        sprintf(tempBuf, "Val: %d", tempInputValue);
                        sprintf(lcdBuffer2, "%-16s", tempBuf); // Pad the value with spaces
                    }
                    break;
                case 2:
                    sprintf(tempBuf, "Item %c COST:", restockItem);
                    sprintf(lcdBuffer1, "%-16s", tempBuf);

                    if (tempDigitIndex == 0) {
                        sprintf(lcdBuffer2, "                ");
                    } else {
                        sprintf(tempBuf, "Val: %d", tempInputValue);
                        sprintf(lcdBuffer2, "%-16s", tempBuf); // Pad the value with spaces
                    }
                    break;
                default:
                    sprintf(lcdBuffer1, "%-16s", "RESTOCK");
                    sprintf(lcdBuffer2, "                ");
            }

            LCD_SetCursor(0,0); LCD_String(lcdBuffer1);
            LCD_SetCursor(1,0); LCD_String(lcdBuffer2);
            osDelay(150);
            continue;
        } else {
            lastRestockMode = 0xFF;
            lastDigitIndex = 0xFF;
        }

        if (currentState != lastState || currentBalance != lastBalance || displayMenuState != lastMenuState) {
            lastState = currentState;
            lastBalance = currentBalance;
            lastMenuState = displayMenuState;
            LCD_Clear(); // Full clear is fine on major state change

            // --- STRICT SPACE PADDING FOR ALL NORMAL MENUS ---
            switch(currentState) {
                case IDLE:
                    if (displayMenuState == 1) {
                        sprintf(lcdBuffer1, "%-16s", "STOCK MENU");
                        sprintf(tempBuf, "A:%d B:%d C:%d D:%d", itemStock[0], itemStock[1], itemStock[2], itemStock[3]);
                        sprintf(lcdBuffer2, "%-16s", tempBuf);
                    } else if (displayMenuState == 2) {
                        sprintf(lcdBuffer1, "%-16s", "PRICE MENU");
                        sprintf(tempBuf, "A:%d B:%d C:%d D:%d", itemCost[0], itemCost[1], itemCost[2], itemCost[3]);
                        sprintf(lcdBuffer2, "%-16s", tempBuf);
                    } else {
                        sprintf(lcdBuffer1, "%-16s", "INSERT COIN");
                        sprintf(lcdBuffer2, "%-16s", "SELECT A-D (#)");
                    }
                    break;
                case COIN_INSERTED:
                    if (displayMenuState == 1) {
                        sprintf(tempBuf, "BAL:%d STOCK", currentBalance);
                        sprintf(lcdBuffer1, "%-16s", tempBuf);
                        sprintf(tempBuf, "A:%d B:%d C:%d D:%d", itemStock[0], itemStock[1], itemStock[2], itemStock[3]);
                        sprintf(lcdBuffer2, "%-16s", tempBuf);
                    } else if (displayMenuState == 2) {
                        sprintf(tempBuf, "BAL:%d PRICE", currentBalance);
                        sprintf(lcdBuffer1, "%-16s", tempBuf);
                        sprintf(tempBuf, "A:%d B:%d C:%d D:%d", itemCost[0], itemCost[1], itemCost[2], itemCost[3]);
                        sprintf(lcdBuffer2, "%-16s", tempBuf);
                    } else {
                        sprintf(tempBuf, "BAL:%d", currentBalance);
                        sprintf(lcdBuffer1, "%-16s", tempBuf);
                        sprintf(lcdBuffer2, "%-16s", "SELECT A-D (#)");
                    }
                    break;
                case SELECT_QUANTITY:
                    sprintf(tempBuf, "ITEM %c", selectedItem);
                    sprintf(lcdBuffer1, "%-16s", tempBuf);
                    sprintf(lcdBuffer2, "%-16s", "QTY 1-9 #");
                    break;
                case CHECK_BALANCE:
                case DISPENSE:
                    sprintf(lcdBuffer1, "%-16s", "DISPENSING...");
                    sprintf(tempBuf, "%c x%d", selectedItem, requestedQty);
                    sprintf(lcdBuffer2, "%-16s", tempBuf);
                    break;
                case VERIFY_DROP:
                    sprintf(lcdBuffer1, "%-16s", "PLEASE WAIT");
                    sprintf(lcdBuffer2, "%-16s", "VERIFYING DROP");
                    break;
                case SYS_SUCCESS:
                    sprintf(lcdBuffer1, "%-16s", "THANK YOU!");
                    sprintf(lcdBuffer2, "%-16s", "ENJOY");
                    break;
                case SYS_ERROR:
                    {
                        int idx = (selectedItem == 'A') ? 0 :
                                  (selectedItem == 'B') ? 1 :
                                  (selectedItem == 'C') ? 2 : 3;
                        if (itemStock[idx] < requestedQty) {
                            sprintf(lcdBuffer1, "%-16s", "OUT OF STOCK");
                            sprintf(tempBuf, "Only %d left", itemStock[idx]);
                            sprintf(lcdBuffer2, "%-16s", tempBuf);
                        } else if (currentBalance < (itemCost[idx] * requestedQty)) {
                            int need = (itemCost[idx] * requestedQty) - currentBalance;
                            sprintf(tempBuf, "NEED %d MORE", need);
                            sprintf(lcdBuffer1, "%-16s", tempBuf);
                            sprintf(tempBuf, "BAL:%d", currentBalance);
                            sprintf(lcdBuffer2, "%-16s", tempBuf);
                        } else {
                            sprintf(lcdBuffer1, "%-16s", "ERROR!");
                            sprintf(lcdBuffer2, "%-16s", "Item jammed");
                        }
                    }
                    break;
                default:
                    break;
            }
            LCD_SetCursor(0,0); LCD_String(lcdBuffer1);
            LCD_SetCursor(1,0); LCD_String(lcdBuffer2);
        }
        osDelay(150);
    }
}

void StartBuzzerTask(void const * argument) {
    osEvent event;
    for(;;) {
        event = osSignalWait(0, osWaitForever);

        if (event.value.signals == 0x01) {
            Debug_Print("[BUZZER] Short Beep\r\n");
            HAL_GPIO_WritePin(GPIOB, BUZZER_Pin, GPIO_PIN_SET);
            osDelay(100);
            HAL_GPIO_WritePin(GPIOB, BUZZER_Pin, GPIO_PIN_RESET);
        }
        else if (event.value.signals == 0x02) {
            Debug_Print("[BUZZER] Long Beep (Success)\r\n");
            HAL_GPIO_WritePin(GPIOB, BUZZER_Pin, GPIO_PIN_SET);
            osDelay(1000);
            HAL_GPIO_WritePin(GPIOB, BUZZER_Pin, GPIO_PIN_RESET);
        }
        else if (event.value.signals == 0x03) {
            Debug_Print("[BUZZER] Double Beep (Error)\r\n");
            HAL_GPIO_WritePin(GPIOB, BUZZER_Pin, GPIO_PIN_SET);
            osDelay(150);
            HAL_GPIO_WritePin(GPIOB, BUZZER_Pin, GPIO_PIN_RESET);
            osDelay(100);
            HAL_GPIO_WritePin(GPIOB, BUZZER_Pin, GPIO_PIN_SET);
            osDelay(150);
            HAL_GPIO_WritePin(GPIOB, BUZZER_Pin, GPIO_PIN_RESET);
        }
    }
}
/* USER CODE END 4 */

void StartDefaultTask(void const * argument)
{
  for(;;)
  {
    osDelay(1);
  }
}

void HAL_TIM_PeriodElapsedCallback(TIM_HandleTypeDef *htim)
{
  if (htim->Instance == TIM4)
  {
    HAL_IncTick();
  }
}

void Error_Handler(void)
{
  __disable_irq();
  while (1)
  {
  }
}
